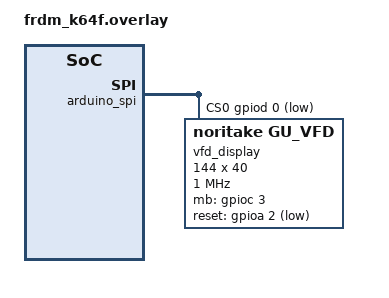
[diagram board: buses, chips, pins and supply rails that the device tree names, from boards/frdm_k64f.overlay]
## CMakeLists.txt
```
# SPDX-License-Identifier: Apache-2.0

cmake_minimum_required(VERSION 3.20.0)

find_package(Zephyr HINTS $ENV{ZEPHYR_BASE})
project(vfd_display)

target_sources(app PRIVATE src/main.c)
```

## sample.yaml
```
sample:
  description: Demonstration of Noritake Graphics Display driver
  name: GU display sample
tests:
  sample.drivers.display_vfd:
    tags: display
    harness_config:
      fixture: fixture_display
    platform_allow: frdm_k64f
    integration_platforms:
      - frdm_k64f
```

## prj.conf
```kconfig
CONFIG_DISPLAY=y
CONFIG_LOG=y
CONFIG_SPI=y
CONFIG_DEBUG_OPTIMIZATIONS=y
CONFIG_DEBUG_THREAD_INFO=y
CONFIG_THREAD_RUNTIME_STATS=y
CONFIG_NORITAKE_GU_VFD=y
CONFIG_HEAP_MEM_POOL_SIZE=1024
```

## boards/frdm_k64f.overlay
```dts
/*
 * Copyright (c) 2025 Karoly Molnar
 * SPDX-License-Identifier: Apache-2.0
 */

&arduino_spi {
	status = "okay";
	cs-gpios = <&gpiod 0 GPIO_ACTIVE_LOW>;
	vfd_display: gu_vfd@0 {
		compatible = "noritake,gu_vfd";
		reg = <0x0>;
		spi-max-frequency = <1000000>;
		width = <144>;
		height = <40>;
		mb-gpios = <&gpioc 3 GPIO_ACTIVE_HIGH>;
		reset-gpios = <&gpioa 2 GPIO_ACTIVE_LOW>;
	};
};

&uart2 {
	status = "disabled";
};
```

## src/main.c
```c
/*
 * Copyright (c) 2025 Karoly Molnar
 *
 * SPDX-License-Identifier: Apache-2.0
 */

#include <string.h>
#include <zephyr/kernel.h>
#include <zephyr/device.h>
#include <zephyr/drivers/display.h>
#include <zephyr/logging/log.h>

LOG_MODULE_REGISTER(vfd_display_sample, LOG_LEVEL_DBG);

int main(void)
{
	const struct device *const dev = DEVICE_DT_GET(DT_NODELABEL(vfd_display));
	struct display_capabilities capabilities;



	if (!device_is_ready(dev)) {
		LOG_ERR("display device is not ready.");
		return 0;
	}

	LOG_INF("Display sample for %s", dev->name);
	display_get_capabilities(dev, &capabilities);

	struct display_driver_api *api = (struct display_driver_api *)dev->api;
	api->write(dev, 4, 0, 0, 0);

	return 0;
}
```
